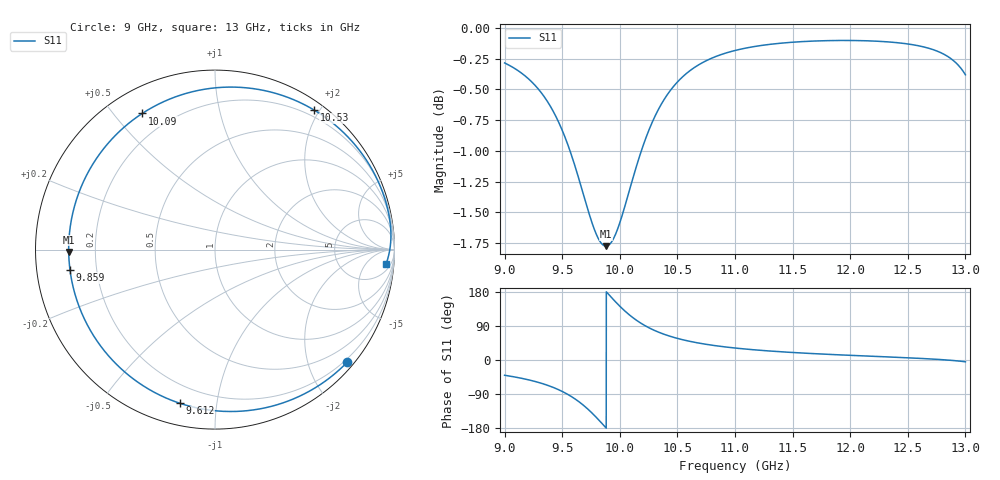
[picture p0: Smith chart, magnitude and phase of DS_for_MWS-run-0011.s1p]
! TOUCHSTONE file generated by CST DESIGN STUDIO
! Date and time: Tue Feb  4 17:14:07 2025
! Project name: C:\Work\MatlabApps\UnitCellOptimizationMatlab\CST\unitcell.cst
! Tree item: Tasks\Sweep1\SPara1\S-Parameters
! Header version: 2024
! Port assignment regex: !\s*Touchstone port\s*([0-9]+)\s*=\s*(CST MWS port|CST DES external port|CST DES block port)\s*(.+)\s* \(\"(.*)\"\)(\s*mode\s*([0-9]+))?.*
! Touchstone port assignment:
! Touchstone port 1 = CST DES external port 1 ("")
# GHz S MA R 50
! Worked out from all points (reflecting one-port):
!   4001 points, 9 GHz to 13 GHz, reference 50 ohm
!   lowest |S11| = -1.8 dB at 9.88 GHz (marker M1), VSWR 9.83, Z = 5.09 - j0.391 ohm
!   phase of S11 starts at -40 deg and turns -324 deg over the sweep
!   S11 on the Smith chart (normalised r, x): 9 GHz: 0.14, -2.72; 9.612 GHz: 0.11, -0.79; 9.859 GHz: 0.10, -0.07; 10.09 GHz: 0.10, +0.60; 10.53 GHz: 0.11, +1.94; 13 GHz: 10, -19
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9  0.9676 -40.3
9.148  0.9584 -48.3
9.281  0.9457 -58.0
9.395  0.9296 -69.2
9.5  0.9086 -83.0
9.559  0.8937 -92.7
9.612  0.8784 -102.9
9.674  0.8589 -116.9
9.732  0.8409 -132.2
9.8  0.8236 -152.7
9.859  0.8159 -172.0
9.88  0.8153 -179.1
9.937  0.8197 161.9
10  0.8333 142.0
10.043  0.846 129.6
10.087  0.8601 118.1
10.16  0.8833 101.7
10.244  0.9066 86.5
10.366  0.932 69.9
10.5  0.9505 57.0
10.532  0.9539 54.5
10.736  0.9689 42.0
11  0.979 31.6
11.5  0.9866 19.8
12  0.9882 12.3
12.5  0.985 5.8
12.793  0.9766 1.0
13  0.957 -4.7
